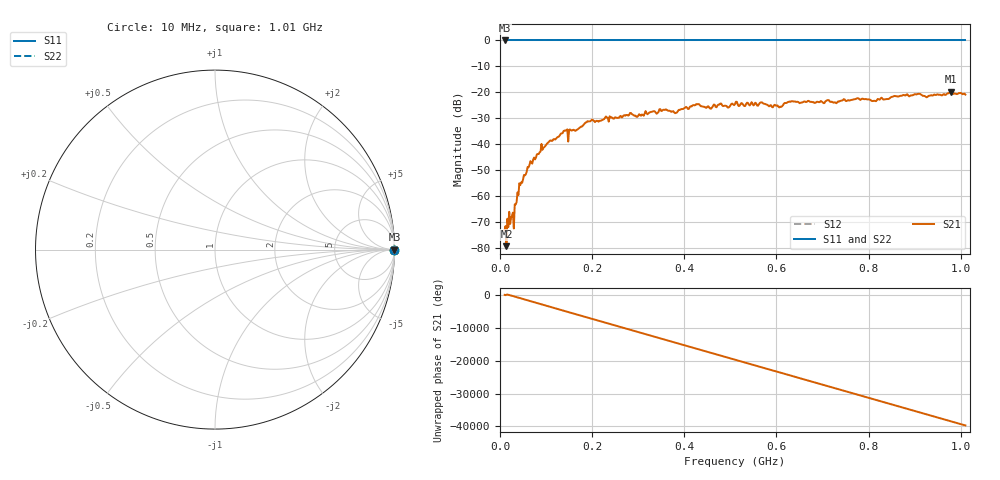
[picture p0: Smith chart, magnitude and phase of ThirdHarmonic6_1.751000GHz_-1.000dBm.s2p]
! 8/16/2025 9:07:36 PM
! C:\ANRITSUVNA\TEMP\TEMP.S2P
! CHANNEL.1
! TR.MEASUREMENT
! RAW.DATA
! RF.CORRECTION.OFF
! AVERAGING.OFF
! IF.BANDWIDTH: 5KHZ
! SWEEPTYPE:  FREQ.SWEEP(Linear)
! Reference Plane Port Info
! PORT:  PORT1  PORT2
! DISTANCE:  0  m  0  m
! TIME:  0  s  0  s
! PHASE.OFFSET:  0  deg.  0  deg.
! LOSS:  0  dB  0  dB
! REF.LOSS:  0  dB  0  dB
! REF.FREQ:  0  Hz  0  Hz
! Power Info
! POWER:  -20  dBm  -20  dBm
! EFF.POWER:  -20  dBm  -20  dBm
! SOURCE.ATTEN:  0  dB  0  dB
! TEST.ATTEN:  0  dB  0  dB
# GHZ S RI R 50.0
! FREQ.GHZ  S11RE  S11IM  S21RE  S21IM  S12RE  S12IM  S22RE  S22IM
!; PortSelection: Port_12
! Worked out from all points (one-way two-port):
!   501 points, 10 MHz to 1.01 GHz, reference 50 ohm
!   highest |S21| = -19.73 dB at 978 MHz (marker M1); lowest = -79.3 dB at 14 MHz (marker M2)
!   lowest |S11| = 0.0 dB at 10 MHz (marker M3)
!   |S11| at or under -10 dB: nowhere
!   |S22| runs from 0.0 to 0.0 dB; largest |S21 - S12| = 1.1
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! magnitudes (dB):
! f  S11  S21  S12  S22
! 10 MHz  0.0  -73.1  0.0  0.0
! 14 MHz  0.0  -79.3  0.0  0.0
! 24 MHz  0.0  -68.4  0.0  0.0
! 26 MHz  0.0  -67.6  0.0  0.0
! 42 MHz  0.0  -55.0  0.0  0.0
! 64 MHz  0.0  -48.0  0.0  0.0
! 106 MHz  0.0  -39.1  0.0  0.0
! 142 MHz  0.0  -34.8  0.0  0.0
! 152 MHz  0.0  -34.3  0.0  0.0
! 178 MHz  0.0  -33.2  0.0  0.0
! 198 MHz  0.0  -30.8  0.0  0.0
! 344 MHz  0.0  -27.6  0.0  0.0
! 382 MHz  0.0  -27.9  0.0  0.0
! 428 MHz  0.0  -24.6  0.0  0.0
! 458 MHz  0.0  -26.3  0.0  0.0
! 510 MHz  0.0  -24.5  0.0  0.0
! 608 MHz  0.0  -25.5  0.0  0.0
! 632 MHz  0.0  -23.4  0.0  0.0
! 678 MHz  0.0  -23.8  0.0  0.0
! 844 MHz  0.0  -22.5  0.0  0.0
! 978 MHz  0.0  -19.7  0.0  0.0
! 1.01 GHz  0.0  -20.9  0.0  0.0
